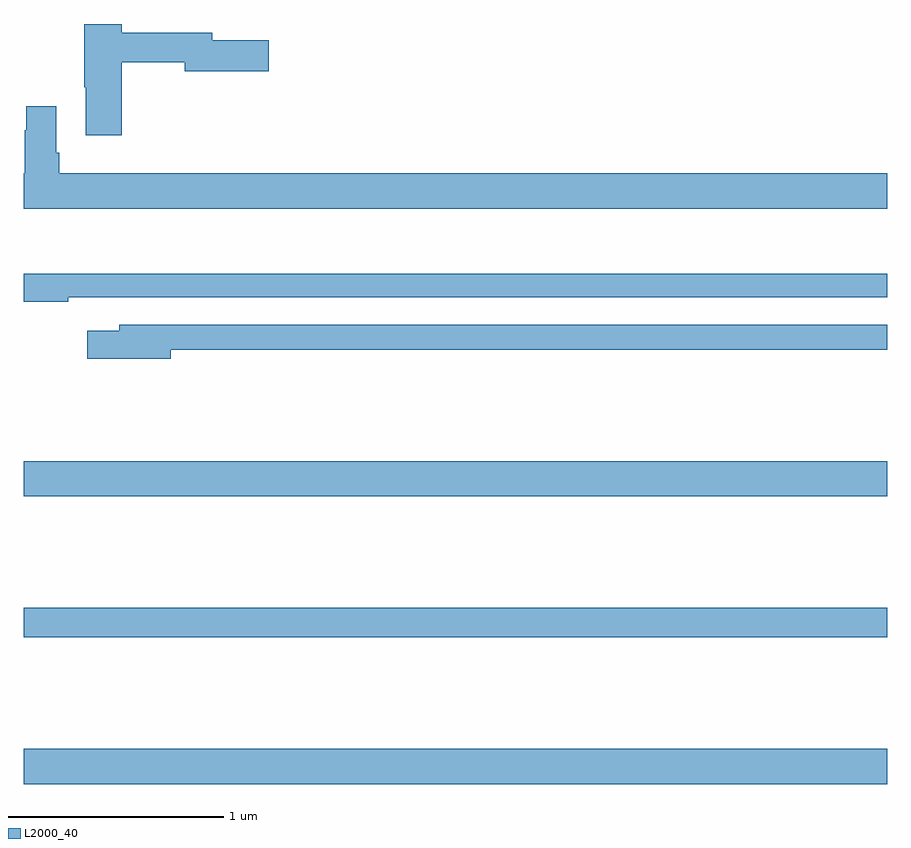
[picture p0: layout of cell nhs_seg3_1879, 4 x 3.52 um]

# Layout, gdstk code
import gdstk
lib = gdstk.Library(unit=1e-6, precision=1e-09)
def R(c, l, rs):  # rectangles x0, y0, x1, y1
    for r in rs: c.add(gdstk.rectangle(r[:2], r[2:], *l))
def P(c, l, *ps):  # polygons
    for p in ps: c.add(gdstk.Polygon(p, *l))
L2000_40 = (2000, 40)

nhs_seg3_1879 = lib.new_cell('nhs_seg3_1879')
R(nhs_seg3_1879, L2000_40, [(207,736.88,211,737.044), (207,737.56,211,737.696), (207,738.212,211,738.376)])
P(nhs_seg3_1879, L2000_40, [(207.455,740.224),(207.746,740.224),(207.746,740.182),(208.135,740.182),(208.135,740.324),(207.874,740.324),(207.874,740.36),(207.455,740.36),(207.455,740.4),(207.28,740.4),(207.28,740.107),(207.287,740.107),(207.287,739.884),(207.455,739.884)],
  [(211,739.708),(207.164,739.708),(207.164,739.804),(207.151,739.804),(207.151,740.02),(207.011,740.02),(207.011,739.907),(207.004,739.907),(207.004,739.708),(207,739.708),(207,739.544),(211,739.544)],
  [(207.206,739.134),(211,739.134),(211,739.243),(207,739.243),(207,739.114),(207.206,739.114)],
  [(207.682,738.892),(211,738.892),(211,739.008),(207.443,739.008),(207.443,738.979),(207.294,738.979),(207.294,738.85),(207.682,738.85)])

lib.write_gds('nhs_seg3_1879.gds')
